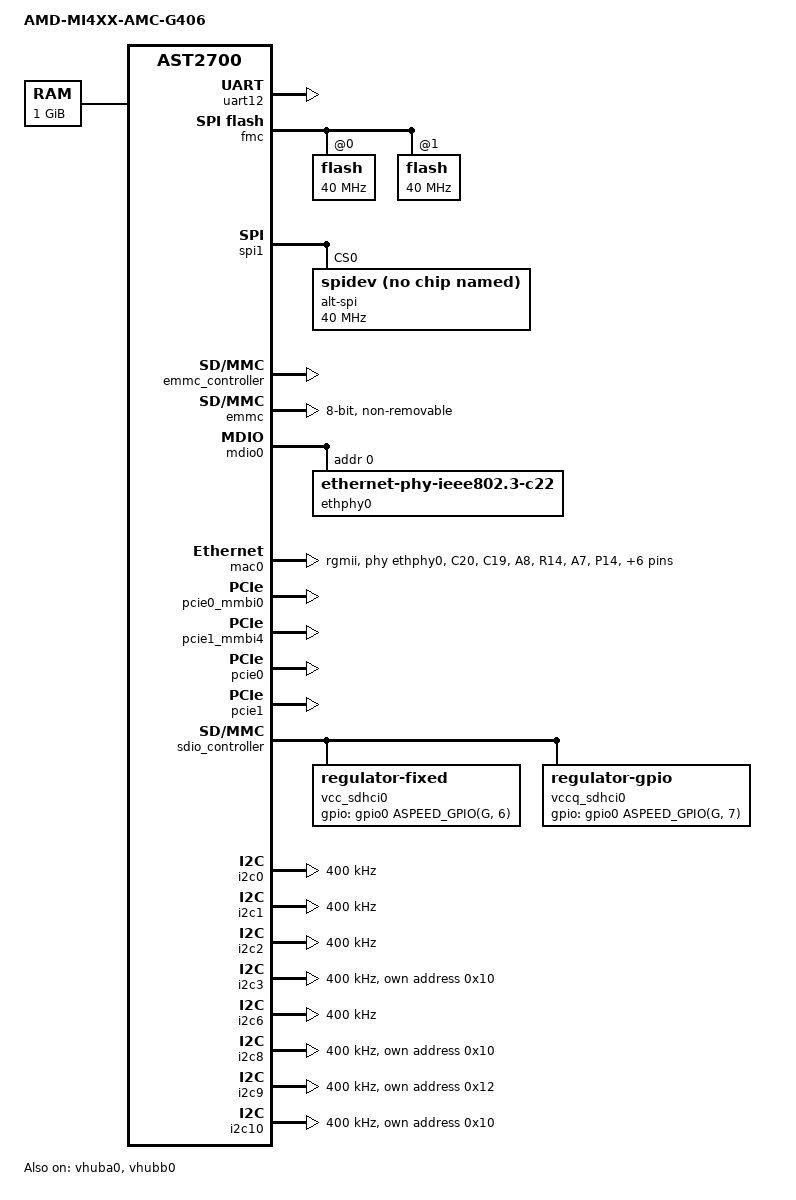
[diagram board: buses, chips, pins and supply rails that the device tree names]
// SPDX-License-Identifier: GPL-2.0-or-later
// AMD DC-GPU AMC G406 platform DTS
// Author: Vinu Vaghasia
// Date: 02/07/2025

/dts-v1/;

#include "aspeed-g7.dtsi"
#include <dt-bindings/gpio/aspeed-gpio.h>
#include <dt-bindings/i2c/i2c.h>
#include "amd-amc-phc.dtsi"

#define DUAL_NODE 0	// 1: DUAL_NODE, 0: SINGLE_NODE
#define PCIE0_EP 1	// 1: EP, 0: RC
#define PCIE1_EP 1	// 1: EP, 0: RC
#define PCIE2_RC 1	// 1: RC, 0: SGMII

/ {
	model = "AMD-MI4XX-AMC-G406";
	compatible = "aspeed,ast2700-evb", "aspeed,ast2700";

	chosen {
		stdout-path = &uart12;
	};

	memory@400000000 {
		device_type = "memory";
		reg = <0x4 0x00000000 0x0 0x40000000>;
	};

	reserved-memory {
		#address-cells = <2>;
		#size-cells = <2>;
		ranges;

		#include "ast2700-reserved-mem.dtsi"

		xdma_memory0: xdma0 {
			size = <0x0 0x01000000>;
			alignment = <0x0 0x01000000>;
			compatible = "shared-dma-pool";
			no-map;
		};

		xdma_memory1: xdma1 {
			size = <0x0 0x01000000>;
			alignment = <0x0 0x01000000>;
			compatible = "shared-dma-pool";
			no-map;
		};
	};
};

// AMC serial console
&uart12 {
	status = "okay";
};

// AMC Boot flash and backup flash
&fmc {
	status = "okay";
	pinctrl-0 = <&pinctrl_fwspi_quad_default>;
	pinctrl-names = "default";

#define AMC_BANK_LABEL_ACTIVE "amc-active"
#define AMC_BANK_LABEL_INACTIVE "amc-inactive"
	flash@0 {
		status = "okay";
		m25p,fast-read;
		label = AMC_BANK_LABEL_ACTIVE;
		spi-max-frequency = <40000000>;
		spi-tx-bus-width = <1>;
		spi-rx-bus-width = <1>;
#include "amd_amc_g406_active_flash_layout.dtsi"
	};

	flash@1 {
		status = "okay";
		m25p,fast-read;
		label = AMC_BANK_LABEL_INACTIVE;
		spi-max-frequency = <40000000>;
		spi-tx-bus-width = <1>;
		spi-rx-bus-width = <1>;
        #include "amd_amc_g406_inactive_flash_layout-128.dtsi"
	};
};

// ALT ROT SPI for mctp/pldm-over-spi
&spi1 {
	status = "okay";
	pinctrl-0 = <&pinctrl_spi1_default &pinctrl_spi1_cs1_default>;
	pinctrl-names = "default";

	spidev0@0 {
		status = "okay";
		reg = < 0 >;
		compatible = "spidev";
		label = "alt-spi";
		spi-max-frequency = <40000000>;
		spi-tx-bus-width = <1>;
		spi-rx-bus-width = <1>;
	};
};

// EMMC0 
&emmc_controller {
	status = "okay";
	mmc-hs200-1_8v;
};

&emmc {
	status = "okay";
	bus-width = <8>;
	pinctrl-0 = <&pinctrl_emmc_default
		     &pinctrl_emmcg8_default>;
	non-removable;
	max-frequency = <80000000>;
};

&pinctrl1 {
	pinctrl_rgmii0_driving: rgmii0-driving {
		pins = "C20", "C19", "A8", "R14", "A7", "P14",
		       "D20", "A6", "B6", "N14", "B7", "B8";
		drive-strength = <1>;
	};
};

&mdio0 {
	status = "okay";
	#address-cells = <1>;
	#size-cells = <0>;

	ethphy0: ethernet-phy@0 {
		compatible = "ethernet-phy-ieee802.3-c22";
		reg = <0>;
	};
};

&mac0 {
	status = "okay";

	phy-mode = "rgmii";
	phy-handle = <&ethphy0>;

	pinctrl-names = "default";
	pinctrl-0 = <&pinctrl_rgmii0_default &pinctrl_rgmii0_driving>;
};

&syscon1 {
	mac0-clk-delay = <0x33 0x30
			  0x10 0x10
			  0x10 0x10>;
	mac1-clk-delay = <0x31 0x31
			  0x10 0x10
			  0x10 0x10>;
	assigned-clocks = <&syscon1 SCU1_CLK_MACHCLK>,
			  <&syscon1 SCU1_CLK_RGMII>,
			  <&syscon1 SCU1_CLK_RMII>;
	assigned-clock-rates = <200000000>, <125000000>, <50000000>;
};

&pcie0_mmbi0 {
	status = "okay";
	memory-region = <&pcie0_mmbi0_memory>;

	mmbi-bmc-int-value = /bits/ 8 <0x00>;
	mmbi-bmc-int-offset = <0x100000>;
};

&pcie1_mmbi4 {
	status = "okay";
	memory-region = <&pcie1_mmbi4_memory>;

	mmbi-bmc-int-value = /bits/ 8 <0x44>;
	mmbi-bmc-int-offset = <0x100400>;
};

&pcie0 {
	status = "okay";
};

&pcie1 {
	status = "okay";
};

&sdio_controller {
	status = "okay";
	mmc-hs200-1_8v;

	vcc_sdhci0: regulator-vcc-sdhci0 {
		compatible = "regulator-fixed";
		regulator-name = "SDHCI0 Vcc";
		regulator-min-microvolt = <3300000>;
		regulator-max-microvolt = <3300000>;
		gpios = <&gpio0 ASPEED_GPIO(G, 6) GPIO_ACTIVE_HIGH>;
		enable-active-high;
	};

	vccq_sdhci0: regulator-vccq-sdhci0 {
		compatible = "regulator-gpio";
		regulator-name = "SDHCI0 VccQ";
		regulator-min-microvolt = <1800000>;
		regulator-max-microvolt = <3300000>;
		gpios = <&gpio0 ASPEED_GPIO(G, 7) GPIO_ACTIVE_HIGH>;
		gpios-states = <1>;
		states = <3300000 1>,
			 <1800000 0>;
	};

};

&i2c0 {
	status = "okay";
	clock-frequency = <400000>;
};

&i2c1 {
	status = "okay";
	clock-frequency = <400000>;
};

&i2c2 {
	status = "okay";
	clock-frequency = <400000>;
};

// mctp channel between AST & EAM
// 0x10 I2C addr is arbitrary address and learned by PHC in the I2C layer's packet frame
&i2c3 {
	status = "okay";
	clock-frequency = <400000>;
	mctp-controller;
	mctp@10 {
		compatible = "mctp-i2c-controller";
		reg = <(0x10 | I2C_OWN_SLAVE_ADDRESS)>;
	};
};

&i2c4 {
	status = "disabled";
	clock-frequency = <400000>;
};

&i2c5 {
	clock-frequency = <400000>;
	status = "disabled";
};

&i2c6 {
	clock-frequency = <400000>;
	status = "okay";
};

&i2c7 {
	clock-frequency = <400000>;
	status = "disabled";
};

// mctp channel between  AST & BMC
&i2c8 {
	status = "okay";
	clock-frequency = <400000>;
	mctp-controller;
	mctp@10 {
		compatible = "mctp-i2c-controller";
		reg = <(0x10 | I2C_OWN_SLAVE_ADDRESS)>;
	};
};

// mctp channel between  AST & ROT
&i2c9 {
	status = "okay";
	clock-frequency = <400000>;
	multi-master;
	mctp-controller;
	mctp@12 {
		compatible = "mctp-i2c-controller";
		reg = <(0x12 | I2C_OWN_SLAVE_ADDRESS)>;
	};
};

// mctp backup channel between AST & EAM
// 0x10 I2C addr is arbitrary address and learned by PHC in the I2C layer's packet frame
&i2c10 {
	status = "okay";
	clock-frequency = <400000>;
	mctp-controller;
	mctp@10 {
		compatible = "mctp-i2c-controller";
		reg = <(0x10 | I2C_OWN_SLAVE_ADDRESS)>;
	};
};

&i2c9 {
	clock-frequency = <400000>;
	status = "okay";
};

&i2c11 {
	clock-frequency = <400000>;
	status = "disabled";
};

&i2c12 {
	clock-frequency = <400000>;
	status = "disabled";
};

&i2c13 {
	clock-frequency = <400000>;
	status = "disabled";
};

&vhuba0 {
	status = "okay";
};

&vhubb0 {
	status = "okay";
};
